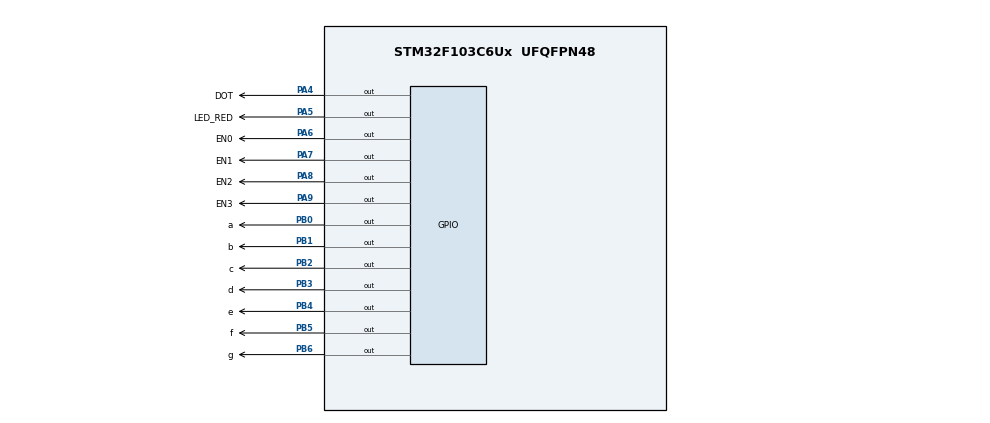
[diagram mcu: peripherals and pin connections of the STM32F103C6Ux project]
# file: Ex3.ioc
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Mcu.Family=STM32F1
Mcu.Name=STM32F103C6Ux
Mcu.Package=UFQFPN48
NVIC.PriorityGroup=NVIC_PRIORITYGROUP_4
NVIC.TIM2_IRQn=true\:0\:0\:false\:false\:true\:true\:true
PA4.GPIO_Label=DOT
PA4.Signal=GPIO_Output
PA5.GPIO_Label=LED_RED
PA5.Signal=GPIO_Output
PA6.GPIO_Label=EN0
PA6.Signal=GPIO_Output
PA7.GPIO_Label=EN1
PA7.Signal=GPIO_Output
PA8.GPIO_Label=EN2
PA8.Signal=GPIO_Output
PA9.GPIO_Label=EN3
PA9.Signal=GPIO_Output
PB0.GPIO_Label=a
PB0.Signal=GPIO_Output
PB1.GPIO_Label=b
PB1.Signal=GPIO_Output
PB2.GPIO_Label=c
PB2.Signal=GPIO_Output
PB3.GPIO_Label=d
PB3.Signal=GPIO_Output
PB4.GPIO_Label=e
PB4.Signal=GPIO_Output
PB5.GPIO_Label=f
PB5.Signal=GPIO_Output
PB6.GPIO_Label=g
PB6.Signal=GPIO_Output
ProjectManager.HeapSize=0x200
ProjectManager.StackSize=0x400
ProjectManager.TargetToolchain=STM32CubeIDE
RCC.APB1Freq_Value=8000000
RCC.APB2Freq_Value=8000000
TIM2.Period=9
TIM2.Prescaler=7999
VP_SYS_VS_ND.Mode=No_Debug
VP_TIM2_VS_ClockSourceINT.Mode=Internal
board=custom

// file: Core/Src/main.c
/* USER CODE BEGIN Header */
/**
  ******************************************************************************
  * @file           : main.c
  * @brief          : Main program body
  ******************************************************************************
  * @attention
  *
  * <h2><center>&copy; Copyright (c) 2023 STMicroelectronics.
  * All rights reserved.</center></h2>
  *
  * This software component is licensed by ST under BSD 3-Clause license,
  * the "License"; You may not use this file except in compliance with the
  * License. You may obtain a copy of the License at:
  *                        opensource.org/licenses/BSD-3-Clause
  *
  ******************************************************************************
  */
/* USER CODE END Header */
#include "main.h"
#include "software_timer.h"

TIM_HandleTypeDef htim2;

void SystemClock_Config(void);
static void MX_GPIO_Init(void);
static void MX_TIM2_Init(void);

/* USER CODE BEGIN 0 */
void display7SEG(int num){
	if (num == 0){
		HAL_GPIO_WritePin(a_GPIO_Port, a_Pin, GPIO_PIN_RESET);
		HAL_GPIO_WritePin(b_GPIO_Port, b_Pin, GPIO_PIN_RESET);
		HAL_GPIO_WritePin(c_GPIO_Port, c_Pin, GPIO_PIN_RESET);
		HAL_GPIO_WritePin(d_GPIO_Port, d_Pin, GPIO_PIN_RESET);
		HAL_GPIO_WritePin(e_GPIO_Port, e_Pin, GPIO_PIN_RESET);
		HAL_GPIO_WritePin(f_GPIO_Port, f_Pin, GPIO_PIN_RESET);
		HAL_GPIO_WritePin(g_GPIO_Port, g_Pin, GPIO_PIN_SET);
	}
	if (num == 1){
		HAL_GPIO_WritePin(a_GPIO_Port, a_Pin, GPIO_PIN_SET);
		HAL_GPIO_WritePin(b_GPIO_Port, b_Pin, GPIO_PIN_RESET);
		HAL_GPIO_WritePin(c_GPIO_Port, c_Pin, GPIO_PIN_RESET);
		HAL_GPIO_WritePin(d_GPIO_Port, d_Pin, GPIO_PIN_SET);
		HAL_GPIO_WritePin(e_GPIO_Port, e_Pin, GPIO_PIN_SET);
		HAL_GPIO_WritePin(f_GPIO_Port, f_Pin, GPIO_PIN_SET);
		HAL_GPIO_WritePin(g_GPIO_Port, g_Pin, GPIO_PIN_SET);
	}
	if (num == 2){
		HAL_GPIO_WritePin(a_GPIO_Port, a_Pin, GPIO_PIN_RESET);
		HAL_GPIO_WritePin(b_GPIO_Port, b_Pin, GPIO_PIN_RESET);
		HAL_GPIO_WritePin(c_GPIO_Port, c_Pin, GPIO_PIN_SET);
		HAL_GPIO_WritePin(d_GPIO_Port, d_Pin, GPIO_PIN_RESET);
		HAL_GPIO_WritePin(e_GPIO_Port, e_Pin, GPIO_PIN_RESET);
		HAL_GPIO_WritePin(f_GPIO_Port, f_Pin, GPIO_PIN_SET);
		HAL_GPIO_WritePin(g_GPIO_Port, g_Pin, GPIO_PIN_RESET);
	}
	if (num == 3){
		HAL_GPIO_WritePin(a_GPIO_Port, a_Pin, GPIO_PIN_RESET);
		HAL_GPIO_WritePin(b_GPIO_Port, b_Pin, GPIO_PIN_RESET);
		HAL_GPIO_WritePin(c_GPIO_Port, c_Pin, GPIO_PIN_RESET);
		HAL_GPIO_WritePin(d_GPIO_Port, d_Pin, GPIO_PIN_RESET);
		HAL_GPIO_WritePin(e_GPIO_Port, e_Pin, GPIO_PIN_SET);
		HAL_GPIO_WritePin(f_GPIO_Port, f_Pin, GPIO_PIN_SET);
		HAL_GPIO_WritePin(g_GPIO_Port, g_Pin, GPIO_PIN_RESET);
	}
	if (num == 4){
		HAL_GPIO_WritePin(a_GPIO_Port, a_Pin, GPIO_PIN_SET);
		HAL_GPIO_WritePin(b_GPIO_Port, b_Pin, GPIO_PIN_RESET);
		HAL_GPIO_WritePin(c_GPIO_Port, c_Pin, GPIO_PIN_RESET);
		HAL_GPIO_WritePin(d_GPIO_Port, d_Pin, GPIO_PIN_SET);
		HAL_GPIO_WritePin(e_GPIO_Port, e_Pin, GPIO_PIN_SET);
		HAL_GPIO_WritePin(f_GPIO_Port, f_Pin, GPIO_PIN_RESET);
		HAL_GPIO_WritePin(g_GPIO_Port, g_Pin, GPIO_PIN_RESET);
	}
	if (num == 5){
		HAL_GPIO_WritePin(a_GPIO_Port, a_Pin, GPIO_PIN_RESET);
		HAL_GPIO_WritePin(b_GPIO_Port, b_Pin, GPIO_PIN_SET);
		HAL_GPIO_WritePin(c_GPIO_Port, c_Pin, GPIO_PIN_RESET);
		HAL_GPIO_WritePin(d_GPIO_Port, d_Pin, GPIO_PIN_RESET);
		HAL_GPIO_WritePin(e_GPIO_Port, e_Pin, GPIO_PIN_SET);
		HAL_GPIO_WritePin(f_GPIO_Port, f_Pin, GPIO_PIN_RESET);
		HAL_GPIO_WritePin(g_GPIO_Port, g_Pin, GPIO_PIN_RESET);
	}
	if (num == 6){
		HAL_GPIO_WritePin(a_GPIO_Port, a_Pin, GPIO_PIN_RESET);
		HAL_GPIO_WritePin(b_GPIO_Port, b_Pin, GPIO_PIN_SET);
		HAL_GPIO_WritePin(c_GPIO_Port, c_Pin, GPIO_PIN_RESET);
		HAL_GPIO_WritePin(d_GPIO_Port, d_Pin, GPIO_PIN_RESET);
		HAL_GPIO_WritePin(e_GPIO_Port, e_Pin, GPIO_PIN_RESET);
		HAL_GPIO_WritePin(f_GPIO_Port, f_Pin, GPIO_PIN_RESET);
		HAL_GPIO_WritePin(g_GPIO_Port, g_Pin, GPIO_PIN_RESET);
	}
	if (num == 7){
		HAL_GPIO_WritePin(a_GPIO_Port, a_Pin, GPIO_PIN_RESET);
		HAL_GPIO_WritePin(b_GPIO_Port, b_Pin, GPIO_PIN_RESET);
		HAL_GPIO_WritePin(c_GPIO_Port, c_Pin, GPIO_PIN_RESET);
		HAL_GPIO_WritePin(d_GPIO_Port, d_Pin, GPIO_PIN_SET);
		HAL_GPIO_WritePin(e_GPIO_Port, e_Pin, GPIO_PIN_SET);
		HAL_GPIO_WritePin(f_GPIO_Port, f_Pin, GPIO_PIN_SET);
		HAL_GPIO_WritePin(g_GPIO_Port, g_Pin, GPIO_PIN_SET);
	}
	if (num == 8){
		HAL_GPIO_WritePin(a_GPIO_Port, a_Pin, GPIO_PIN_RESET);
		HAL_GPIO_WritePin(b_GPIO_Port, b_Pin, GPIO_PIN_RESET);
		HAL_GPIO_WritePin(c_GPIO_Port, c_Pin, GPIO_PIN_RESET);
		HAL_GPIO_WritePin(d_GPIO_Port, d_Pin, GPIO_PIN_RESET);
		HAL_GPIO_WritePin(e_GPIO_Port, e_Pin, GPIO_PIN_RESET);
		HAL_GPIO_WritePin(f_GPIO_Port, f_Pin, GPIO_PIN_RESET);
		HAL_GPIO_WritePin(g_GPIO_Port, g_Pin, GPIO_PIN_RESET);
	}
	if (num == 9) {
		HAL_GPIO_WritePin(a_GPIO_Port, a_Pin, GPIO_PIN_RESET);
		HAL_GPIO_WritePin(b_GPIO_Port, b_Pin, GPIO_PIN_RESET);
		HAL_GPIO_WritePin(c_GPIO_Port, c_Pin, GPIO_PIN_RESET);
		HAL_GPIO_WritePin(d_GPIO_Port, d_Pin, GPIO_PIN_RESET);
		HAL_GPIO_WritePin(e_GPIO_Port, e_Pin, GPIO_PIN_SET);
		HAL_GPIO_WritePin(f_GPIO_Port, f_Pin, GPIO_PIN_RESET);
		HAL_GPIO_WritePin(g_GPIO_Port, g_Pin, GPIO_PIN_RESET);
	}
}

const int MAX_LED = 4;
int index_led = 0;
int led_buffer[4] = {1, 2, 3, 0};
void update7SEG(int index){
	switch (index){
		case 0:
			//Display the first 7SEG with led_buffer[0]
			setTimer1(50);
			display7SEG(led_buffer[0]);
  		  	HAL_GPIO_WritePin(EN0_GPIO_Port, EN0_Pin, RESET);
  		  	HAL_GPIO_WritePin(EN1_GPIO_Port, EN1_Pin, SET);
 		  	HAL_GPIO_WritePin(EN2_GPIO_Port, EN2_Pin, SET);
  		  	HAL_GPIO_WritePin(EN3_GPIO_Port, EN3_Pin, SET);
			break;
		case 1:
			//Display the first 7SEG with led_buffer[1]
			setTimer1(50);
			display7SEG(led_buffer[1]);
  		  	HAL_GPIO_WritePin(EN0_GPIO_Port, EN0_Pin, SET);
  		  	HAL_GPIO_WritePin(EN1_GPIO_Port, EN1_Pin, RESET);
 		  	HAL_GPIO_WritePin(EN2_GPIO_Port, EN2_Pin, SET);
  		  	HAL_GPIO_WritePin(EN3_GPIO_Port, EN3_Pin, SET);
			break;
		case 2:
			//Display the first 7SEG with led_buffer[2]
			setTimer1(50);
			display7SEG(led_buffer[2]);
  		  	HAL_GPIO_WritePin(EN0_GPIO_Port, EN0_Pin, SET);
  		  	HAL_GPIO_WritePin(EN1_GPIO_Port, EN1_Pin, SET);
 		  	HAL_GPIO_WritePin(EN2_GPIO_Port, EN2_Pin, RESET);
  		  	HAL_GPIO_WritePin(EN3_GPIO_Port, EN3_Pin, SET);
			break;
		case 3:
			//Display the first 7SEG with led_buffer[3]
			setTimer1(50);
			display7SEG(led_buffer[3]);
  		  	HAL_GPIO_WritePin(EN0_GPIO_Port, EN0_Pin, SET);
  		  	HAL_GPIO_WritePin(EN1_GPIO_Port, EN1_Pin, SET);
 		  	HAL_GPIO_WritePin(EN2_GPIO_Port, EN2_Pin, SET);
  		  	HAL_GPIO_WritePin(EN3_GPIO_Port, EN3_Pin, RESET);
			break;
	}
}
/* USER CODE END 0 */

int main(void)
{

  /* MCU Configuration--------------------------------------------------------*/

  /* Reset of all peripherals, Initializes the Flash interface and the Systick. */
  HAL_Init();

  /* USER CODE BEGIN Init */
//  int status = 1;
  setTimer1(50);
  setTimer2(100);
  setTimer3(100);
  /* USER CODE END Init */

  /* Configure the system clock */
  SystemClock_Config();

  /* Initialize all configured peripherals */
  MX_GPIO_Init();
  MX_TIM2_Init();
  /* USER CODE BEGIN 2 */
  HAL_TIM_Base_Start_IT(&htim2);
  /* USER CODE END 2 */

  /* Infinite loop */
  /* USER CODE BEGIN WHILE */
  while (1)
    {
  	  if (timer1_flag == 1){
  		  update7SEG(index_led);
  		  if (index_led >= 3){
  			  index_led = 0;
  		  }
  		  else {
  			  index_led++;
  		  }
  	  }
  	  if (timer2_flag == 1){
  		  HAL_GPIO_TogglePin(LED_RED_GPIO_Port, LED_RED_Pin);
  		  setTimer2(100);
  	  }
  	  if (timer3_flag == 1){
  		  HAL_GPIO_TogglePin(DOT_GPIO_Port, DOT_Pin);
  		  setTimer3(100);
  	  }
  	}
  /* USER CODE END 3 */
}

void SystemClock_Config(void)
{
  RCC_OscInitTypeDef RCC_OscInitStruct = {0};
  RCC_ClkInitTypeDef RCC_ClkInitStruct = {0};

  /** Initializes the RCC Oscillators according to the specified parameters
  * in the RCC_OscInitTypeDef structure.
  */
  RCC_OscInitStruct.OscillatorType = RCC_OSCILLATORTYPE_HSI;
  RCC_OscInitStruct.HSIState = RCC_HSI_ON;
  RCC_OscInitStruct.HSICalibrationValue = RCC_HSICALIBRATION_DEFAULT;
  RCC_OscInitStruct.PLL.PLLState = RCC_PLL_NONE;
  if (HAL_RCC_OscConfig(&RCC_OscInitStruct) != HAL_OK)
  {
    Error_Handler();
  }
  /** Initializes the CPU, AHB and APB buses clocks
  */
  RCC_ClkInitStruct.ClockType = RCC_CLOCKTYPE_HCLK|RCC_CLOCKTYPE_SYSCLK
                              |RCC_CLOCKTYPE_PCLK1|RCC_CLOCKTYPE_PCLK2;
  RCC_ClkInitStruct.SYSCLKSource = RCC_SYSCLKSOURCE_HSI;
  RCC_ClkInitStruct.AHBCLKDivider = RCC_SYSCLK_DIV1;
  RCC_ClkInitStruct.APB1CLKDivider = RCC_HCLK_DIV1;
  RCC_ClkInitStruct.APB2CLKDivider = RCC_HCLK_DIV1;

  if (HAL_RCC_ClockConfig(&RCC_ClkInitStruct, FLASH_LATENCY_0) != HAL_OK)
  {
    Error_Handler();
  }
}

static void MX_TIM2_Init(void)
{

  TIM_ClockConfigTypeDef sClockSourceConfig = {0};
  TIM_MasterConfigTypeDef sMasterConfig = {0};

  htim2.Instance = TIM2;
  htim2.Init.Prescaler = 7999;
  htim2.Init.CounterMode = TIM_COUNTERMODE_UP;
  htim2.Init.Period = 9;
  htim2.Init.ClockDivision = TIM_CLOCKDIVISION_DIV1;
  htim2.Init.AutoReloadPreload = TIM_AUTORELOAD_PRELOAD_DISABLE;
  if (HAL_TIM_Base_Init(&htim2) != HAL_OK)
  {
    Error_Handler();
  }
  sClockSourceConfig.ClockSource = TIM_CLOCKSOURCE_INTERNAL;
  if (HAL_TIM_ConfigClockSource(&htim2, &sClockSourceConfig) != HAL_OK)
  {
    Error_Handler();
  }
  sMasterConfig.MasterOutputTrigger = TIM_TRGO_RESET;
  sMasterConfig.MasterSlaveMode = TIM_MASTERSLAVEMODE_DISABLE;
  if (HAL_TIMEx_MasterConfigSynchronization(&htim2, &sMasterConfig) != HAL_OK)
  {
    Error_Handler();
  }

}

static void MX_GPIO_Init(void)
{
  GPIO_InitTypeDef GPIO_InitStruct = {0};

  /* GPIO Ports Clock Enable */
  __HAL_RCC_GPIOA_CLK_ENABLE();
  __HAL_RCC_GPIOB_CLK_ENABLE();

  /*Configure GPIO pin Output Level */
  HAL_GPIO_WritePin(GPIOA, DOT_Pin|LED_RED_Pin|EN0_Pin|EN1_Pin
                          |EN2_Pin|EN3_Pin, GPIO_PIN_RESET);

  /*Configure GPIO pin Output Level */
  HAL_GPIO_WritePin(GPIOB, a_Pin|b_Pin|c_Pin|d_Pin
                          |e_Pin|f_Pin|g_Pin, GPIO_PIN_RESET);

  /*Configure GPIO pins : DOT_Pin LED_RED_Pin EN0_Pin EN1_Pin
                           EN2_Pin EN3_Pin */
  GPIO_InitStruct.Pin = DOT_Pin|LED_RED_Pin|EN0_Pin|EN1_Pin
                          |EN2_Pin|EN3_Pin;
  GPIO_InitStruct.Mode = GPIO_MODE_OUTPUT_PP;
  GPIO_InitStruct.Pull = GPIO_NOPULL;
  GPIO_InitStruct.Speed = GPIO_SPEED_FREQ_LOW;
  HAL_GPIO_Init(GPIOA, &GPIO_InitStruct);

  /*Configure GPIO pins : a_Pin b_Pin c_Pin d_Pin
                           e_Pin f_Pin g_Pin */
  GPIO_InitStruct.Pin = a_Pin|b_Pin|c_Pin|d_Pin
                          |e_Pin|f_Pin|g_Pin;
  GPIO_InitStruct.Mode = GPIO_MODE_OUTPUT_PP;
  GPIO_InitStruct.Pull = GPIO_NOPULL;
  GPIO_InitStruct.Speed = GPIO_SPEED_FREQ_LOW;
  HAL_GPIO_Init(GPIOB, &GPIO_InitStruct);

}

/* USER CODE BEGIN 4 */
void HAL_TIM_PeriodElapsedCallback(TIM_HandleTypeDef *htim){
	timerRun();
}
/* USER CODE END 4 */

void Error_Handler(void)
{
  __disable_irq();
  while (1)
  {
  }
}

/************************ (C) COPYRIGHT STMicroelectronics *****END OF FILE****/
